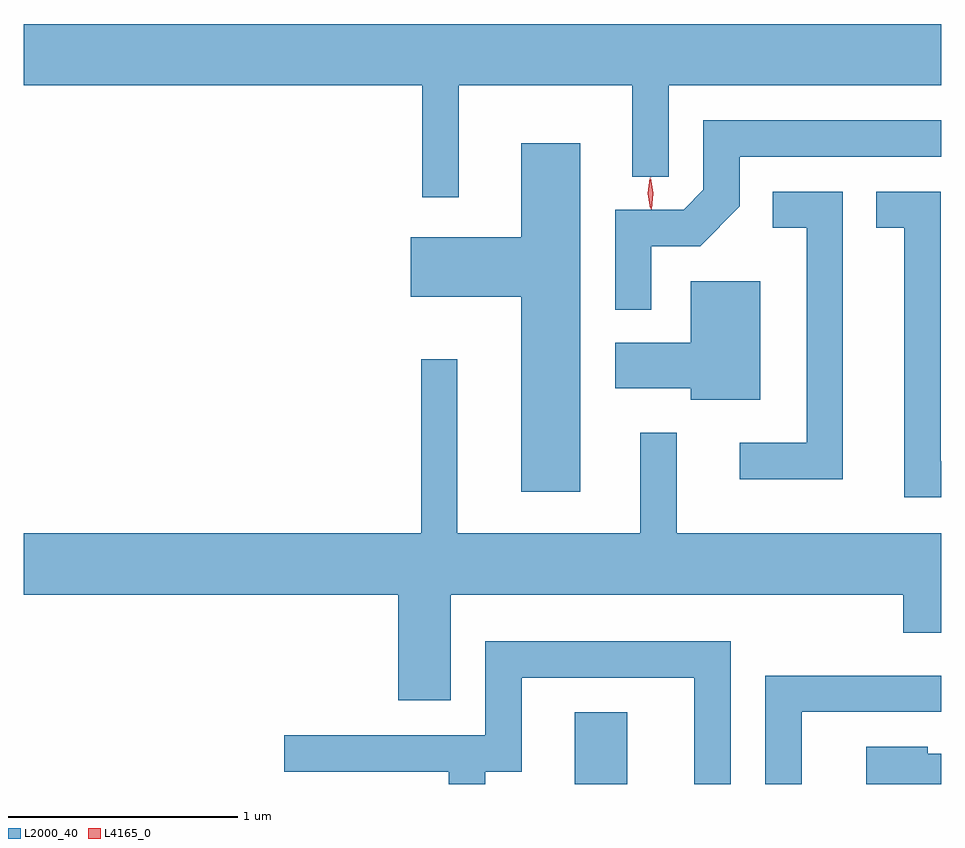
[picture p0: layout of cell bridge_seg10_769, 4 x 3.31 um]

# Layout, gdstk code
import gdstk
lib = gdstk.Library(unit=1e-6, precision=1e-09)
def R(c, l, rs):  # rectangles x0, y0, x1, y1
    for r in rs: c.add(gdstk.rectangle(r[:2], r[2:], *l))
def P(c, l, *ps):  # polygons
    for p in ps: c.add(gdstk.Polygon(p, *l))
L2000_40 = (2000, 40)
L4165_0 = (4165, 0)

bridge_seg10_769 = lib.new_cell('bridge_seg10_769')
R(bridge_seg10_769, L2000_40, [(404.911,2126.412,405.139,2126.724)])
P(bridge_seg10_769, L2000_40, [(404.404,2129.456),(405.161,2129.456),(405.161,2129.058),(405.319,2129.058),(405.319,2129.456),(406.508,2129.456),(406.508,2129.724),(402.508,2129.724),(402.508,2129.456),(404.246,2129.456),(404.246,2128.968),(404.404,2128.968)],
  [(405.244,2128.756),(405.457,2128.756),(405.629,2128.929),(405.629,2129.146),(406.508,2129.146),(406.508,2129.304),(405.471,2129.304),(405.471,2129.002),(405.384,2128.914),(405.086,2128.914),(405.086,2128.478),(405.244,2128.478)],
  [(404.934,2129.204),(404.676,2129.204),(404.676,2128.794),(404.196,2128.794),(404.196,2128.536),(404.676,2128.536),(404.676,2127.686),(404.934,2127.686)],
  [(406.508,2127.819),(406.504,2127.819),(406.504,2128.994),(406.223,2128.994),(406.223,2128.836),(406.346,2128.836),(406.346,2127.661),(406.508,2127.661)],
  [(406.079,2128.994),(405.773,2128.994),(405.773,2128.836),(405.921,2128.836),(405.921,2127.899),(405.628,2127.899),(405.628,2127.741),(406.079,2127.741)],
  [(405.719,2128.604),(405.416,2128.604),(405.416,2128.334),(405.086,2128.334),(405.086,2128.136),(405.416,2128.136),(405.416,2128.086),(405.719,2128.086)],
  [(404.369,2127.236),(406.341,2127.236),(406.341,2127.071),(406.508,2127.071),(406.508,2127.504),(405.354,2127.504),(405.354,2127.943),(405.196,2127.943),(405.196,2127.504),(404.399,2127.504),(404.399,2128.263),(404.241,2128.263),(404.241,2127.504),(402.508,2127.504),(402.508,2127.236),(404.141,2127.236),(404.141,2126.776),(404.369,2126.776)],
  [(404.519,2126.466),(404.679,2126.466),(404.679,2126.876),(405.431,2126.876),(405.431,2126.412),(405.589,2126.412),(405.589,2127.034),(404.521,2127.034),(404.521,2126.624),(403.643,2126.624),(403.643,2126.466),(404.361,2126.466),(404.361,2126.412),(404.519,2126.412)],
  [(405.899,2126.726),(406.508,2126.726),(406.508,2126.884),(405.741,2126.884),(405.741,2126.412),(405.899,2126.412)],
  [(406.508,2126.544),(406.449,2126.544),(406.449,2126.574),(406.181,2126.574),(406.181,2126.412),(406.508,2126.412)])
P(bridge_seg10_769, L4165_0, [(405.239,2128.919),(405.239,2128.919),(405.228,2128.986),(405.236,2129.052),(405.236,2129.052),(405.237,2129.052),(405.248,2128.986),(405.24,2128.919)],
  [(405.244,2128.917),(405.244,2128.917),(405.233,2128.986),(405.241,2129.055),(405.242,2129.056),(405.242,2129.055),(405.253,2128.986),(405.245,2128.917)])

lib.write_gds('bridge_seg10_769.gds')
